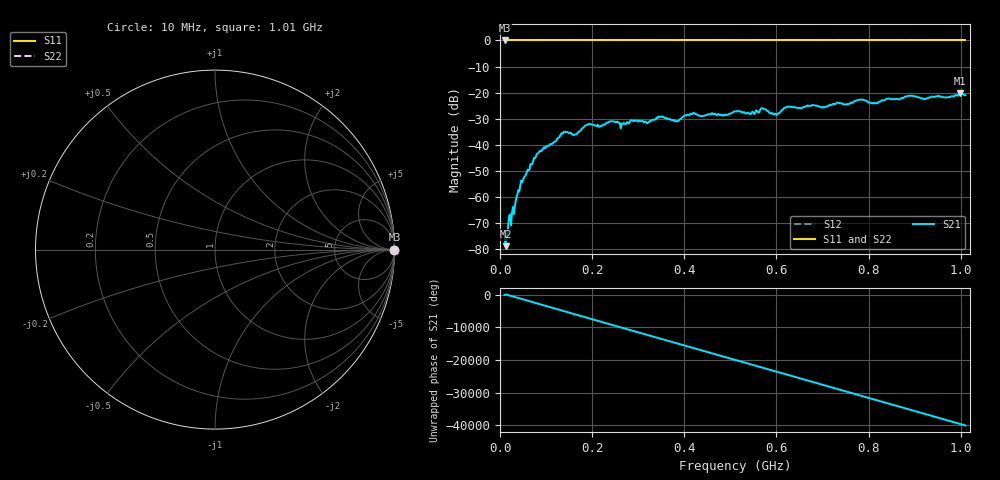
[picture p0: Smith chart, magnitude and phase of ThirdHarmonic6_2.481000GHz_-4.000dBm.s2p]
! 8/17/2025 4:37:42 AM
! C:\ANRITSUVNA\TEMP\TEMP.S2P
! CHANNEL.1
! TR.MEASUREMENT
! RAW.DATA
! RF.CORRECTION.OFF
! AVERAGING.OFF
! IF.BANDWIDTH: 5KHZ
! SWEEPTYPE:  FREQ.SWEEP(Linear)
! Reference Plane Port Info
! PORT:  PORT1  PORT2
! DISTANCE:  0  m  0  m
! TIME:  0  s  0  s
! PHASE.OFFSET:  0  deg.  0  deg.
! LOSS:  0  dB  0  dB
! REF.LOSS:  0  dB  0  dB
! REF.FREQ:  0  Hz  0  Hz
! Power Info
! POWER:  -20  dBm  -20  dBm
! EFF.POWER:  -20  dBm  -20  dBm
! SOURCE.ATTEN:  0  dB  0  dB
! TEST.ATTEN:  0  dB  0  dB
# GHZ S RI R 50.0
! FREQ.GHZ  S11RE  S11IM  S21RE  S21IM  S12RE  S12IM  S22RE  S22IM
!; PortSelection: Port_12
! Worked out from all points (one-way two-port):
!   501 points, 10 MHz to 1.01 GHz, reference 50 ohm
!   highest |S21| = -20.23 dB at 998 MHz (marker M1); lowest = -78.9 dB at 12 MHz (marker M2)
!   lowest |S11| = 0.0 dB at 10 MHz (marker M3)
!   |S11| at or under -10 dB: nowhere
!   |S22| runs from 0.0 to 0.0 dB; largest |S21 - S12| = 1.1
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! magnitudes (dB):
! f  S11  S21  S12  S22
! 10 MHz  0.0  -73.7  0.0  0.0
! 12 MHz  0.0  -78.9  0.0  0.0
! 42 MHz  0.0  -58.0  0.0  0.0
! 78 MHz  0.0  -44.5  0.0  0.0
! 136 MHz  0.0  -35.7  0.0  0.0
! 162 MHz  0.0  -36.0  0.0  0.0
! 178 MHz  0.0  -33.8  0.0  0.0
! 194 MHz  0.0  -32.0  0.0  0.0
! 322 MHz  0.0  -31.4  0.0  0.0
! 344 MHz  0.0  -29.1  0.0  0.0
! 384 MHz  0.0  -30.9  0.0  0.0
! 418 MHz  0.0  -28.2  0.0  0.0
! 510 MHz  0.0  -27.2  0.0  0.0
! 570 MHz  0.0  -26.0  0.0  0.0
! 598 MHz  0.0  -28.2  0.0  0.0
! 624 MHz  0.0  -25.4  0.0  0.0
! 678 MHz  0.0  -24.8  0.0  0.0
! 782 MHz  0.0  -22.8  0.0  0.0
! 816 MHz  0.0  -24.0  0.0  0.0
! 844 MHz  0.0  -22.3  0.0  0.0
! 998 MHz  0.0  -20.2  0.0  0.0
! 1.01 GHz  0.0  -21.0  0.0  0.0
